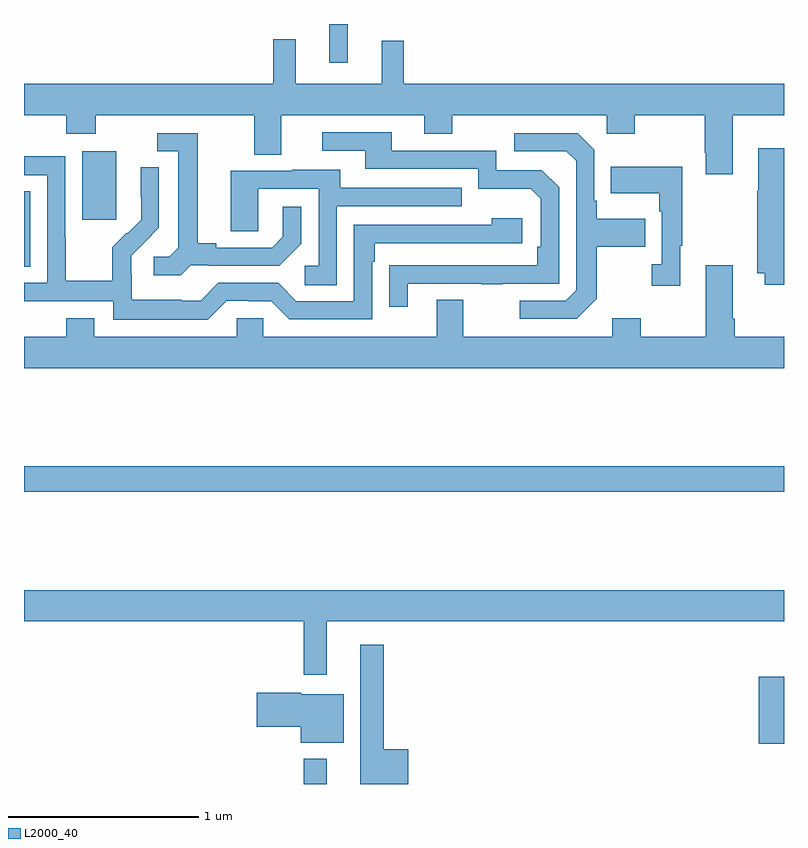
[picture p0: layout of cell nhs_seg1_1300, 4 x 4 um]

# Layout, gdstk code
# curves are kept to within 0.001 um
import gdstk
lib = gdstk.Library(unit=1e-6, precision=1e-09)
def R(c, l, rs):  # rectangles x0, y0, x1, y1
    for r in rs: c.add(gdstk.rectangle(r[:2], r[2:], *l))
def P(c, l, *ps):  # polygons
    for p in ps: c.add(gdstk.Polygon(p, *l))
L2000_40 = (2000, 40)

nhs_seg1_1300 = lib.new_cell('nhs_seg1_1300')
R(nhs_seg1_1300, L2000_40, [(182.472,560.199,182.593,560.332), (184.868,560.411,185,560.764), (181,561.736,185,561.872), (181,562.921,181.033,563.318), (181.307,563.169,181.486,563.53), (182.606,563.994,182.703,564.199), (182.906,564.197,183.041,564.199)])
P(nhs_seg1_1300, L2000_40, [(184.729,563.72),(185,563.72),(185,563.884),(182.999,563.884),(182.999,564.112),(182.882,564.112),(182.882,563.884),(182.429,563.884),(182.429,564.118),(182.311,564.118),(182.311,563.884),(181,563.884),(181,563.72),(181.222,563.72),(181.222,563.621),(181.377,563.621),(181.377,563.72),(182.213,563.72),(182.213,563.512),(182.353,563.512),(182.353,563.72),(183.107,563.72),(183.107,563.621),(183.255,563.621),(183.255,563.72),(184.068,563.72),(184.068,563.621),(184.215,563.621),(184.215,563.72),(184.582,563.72),(184.582,563.521),(184.589,563.521),(184.589,563.409),(184.729,563.409)],
  [(183.019,562.833),(183.409,562.833),(183.409,562.828),(183.521,562.828),(183.521,562.833),(183.816,562.833),(183.816,563.34),(183.726,563.43),(183.486,563.43),(183.486,563.532),(182.935,563.532),(182.935,563.628),(182.571,563.628),(182.571,563.532),(182.795,563.532),(182.795,563.436),(183.39,563.436),(183.39,563.333),(183.667,563.333),(183.72,563.28),(183.72,563.026),(183.7,563.026),(183.7,562.929),(182.923,562.928),(182.923,562.71),(183.019,562.71)],
  [(181.878,562.929),(181.972,562.929),(181.972,562.926),(182.344,562.926),(182.46,563.042),(182.46,563.236),(182.363,563.236),(182.363,563.079),(182.306,563.022),(182.011,563.022),(182.011,563.045),(181.915,563.045),(181.915,563.625),(181.701,563.625),(181.701,563.529),(181.811,563.529),(181.811,563.021),(181.764,562.974),(181.683,562.974),(181.683,562.877),(181.826,562.877)],
  [(184.015,562.753),(184.015,563.026),(184.271,563.026),(184.271,563.173),(184.015,563.173),(184.015,563.269),(184.002,563.269),(184.002,563.538),(183.915,563.625),(183.579,563.625),(183.579,563.529),(183.855,563.529),(183.906,563.478),(183.906,562.797),(183.852,562.743),(183.609,562.743),(183.609,562.647),(183.909,562.647)],
  [(185,563.545),(184.865,563.545),(184.865,563.321),(184.858,563.321),(184.858,562.886),(184.898,562.886),(184.898,562.827),(185,562.827)],
  [(182.067,562.743),(182.183,562.743),(182.183,562.74),(182.301,562.74),(182.397,562.644),(182.832,562.644),(182.832,562.949),(182.845,562.949),(182.845,563.046),(183.622,563.046),(183.622,563.176),(183.461,563.176),(183.461,563.142),(182.736,563.142),(182.736,562.74),(182.433,562.74),(182.337,562.836),(182.022,562.836),(181.929,562.743),(181.829,562.743),(181.829,562.747),(181.566,562.747),(181.566,562.881),(181.564,562.881),(181.564,562.978),(181.71,563.126),(181.71,563.444),(181.614,563.444),(181.614,563.29),(181.616,563.29),(181.616,563.168),(181.545,563.097),(181.542,563.1),(181.465,563.023),(181.465,562.849),(181.221,562.849),(181.221,563.072),(181.218,563.072),(181.218,563.502),(181,563.502),(181,563.403),(181.122,563.403),(181.122,562.836),(181,562.836),(181,562.74),(181.47,562.74),(181.47,562.643),(181.967,562.643)],
  [(184.453,563.033),(184.465,563.033),(184.465,563.449),(184.087,563.449),(184.087,563.309),(184.344,563.309),(184.344,563.213),(184.356,563.213),(184.356,562.934),(184.305,562.934),(184.305,562.821),(184.453,562.821)],
  [(182.646,563.241),(183.305,563.241),(183.305,563.337),(182.665,563.337),(182.665,563.431),(182.411,563.431),(182.411,563.427),(182.087,563.427),(182.087,563.107),(182.232,563.107),(182.232,563.331),(182.55,563.331),(182.55,562.926),(182.478,562.926),(182.478,562.825),(182.646,562.825)],
  [(182.121,562.65),(182.121,562.552),(181.369,562.552),(181.369,562.651),(181.222,562.651),(181.222,562.552),(181,562.552),(181,562.388),(185,562.388),(185,562.552),(184.742,562.552),(184.742,562.648),(184.729,562.648),(184.729,562.93),(184.589,562.93),(184.589,562.552),(184.245,562.552),(184.245,562.651),(184.097,562.651),(184.097,562.552),(183.313,562.552),(183.313,562.747),(183.173,562.747),(183.173,562.552),(182.259,562.552),(182.259,562.65)],
  [(182.593,561.056),(185,561.056),(185,561.22),(181,561.22),(181,561.056),(182.472,561.056),(182.472,560.775),(182.593,560.775)],
  [(183.022,560.383),(182.893,560.383),(182.893,560.932),(182.771,560.932),(182.771,560.199),(183.022,560.199)],
  [(182.683,560.671),(182.46,560.671),(182.46,560.679),(182.226,560.679),(182.226,560.501),(182.456,560.501),(182.456,560.417),(182.683,560.417)])

lib.write_gds('nhs_seg1_1300.gds')
